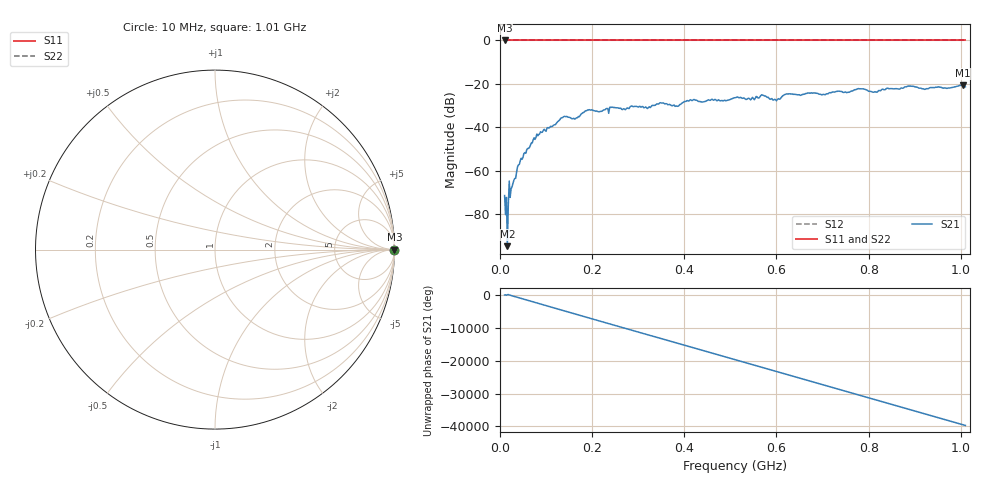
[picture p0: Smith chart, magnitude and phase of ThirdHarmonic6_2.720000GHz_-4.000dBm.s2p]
! 8/17/2025 6:37:27 AM
! C:\ANRITSUVNA\TEMP\TEMP.S2P
! CHANNEL.1
! TR.MEASUREMENT
! RAW.DATA
! RF.CORRECTION.OFF
! AVERAGING.OFF
! IF.BANDWIDTH: 5KHZ
! SWEEPTYPE:  FREQ.SWEEP(Linear)
! Reference Plane Port Info
! PORT:  PORT1  PORT2
! DISTANCE:  0  m  0  m
! TIME:  0  s  0  s
! PHASE.OFFSET:  0  deg.  0  deg.
! LOSS:  0  dB  0  dB
! REF.LOSS:  0  dB  0  dB
! REF.FREQ:  0  Hz  0  Hz
! Power Info
! POWER:  -20  dBm  -20  dBm
! EFF.POWER:  -20  dBm  -20  dBm
! SOURCE.ATTEN:  0  dB  0  dB
! TEST.ATTEN:  0  dB  0  dB
# GHZ S RI R 50.0
! FREQ.GHZ  S11RE  S11IM  S21RE  S21IM  S12RE  S12IM  S22RE  S22IM
!; PortSelection: Port_12
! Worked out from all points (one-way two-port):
!   501 points, 10 MHz to 1.01 GHz, reference 50 ohm
!   highest |S21| = -20.58 dB at 1.004 GHz (marker M1); lowest = -94.8 dB at 16 MHz (marker M2)
!   lowest |S11| = 0.0 dB at 10 MHz (marker M3)
!   |S11| at or under -10 dB: nowhere
!   |S22| runs from 0.0 to 0.0 dB; largest |S21 - S12| = 1.1
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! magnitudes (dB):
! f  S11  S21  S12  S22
! 10 MHz  0.0  -71.4  0.0  0.0
! 14 MHz  0.0  -72.3  0.0  0.0
! 16 MHz  0.0  -94.8  0.0  0.0
! 24 MHz  0.0  -68.4  0.0  0.0
! 42 MHz  0.0  -57.1  0.0  0.0
! 76 MHz  0.0  -45.6  0.0  0.0
! 136 MHz  0.0  -35.5  0.0  0.0
! 160 MHz  0.0  -35.9  0.0  0.0
! 178 MHz  0.0  -33.6  0.0  0.0
! 344 MHz  0.0  -29.3  0.0  0.0
! 384 MHz  0.0  -30.3  0.0  0.0
! 410 MHz  0.0  -27.9  0.0  0.0
! 510 MHz  0.0  -26.4  0.0  0.0
! 570 MHz  0.0  -25.2  0.0  0.0
! 596 MHz  0.0  -27.1  0.0  0.0
! 622 MHz  0.0  -24.6  0.0  0.0
! 678 MHz  0.0  -24.3  0.0  0.0
! 782 MHz  0.0  -22.3  0.0  0.0
! 814 MHz  0.0  -23.6  0.0  0.0
! 844 MHz  0.0  -22.2  0.0  0.0
! 1.004 GHz  0.0  -20.6  0.0  0.0
! 1.01 GHz  0.0  -21.3  0.0  0.0
